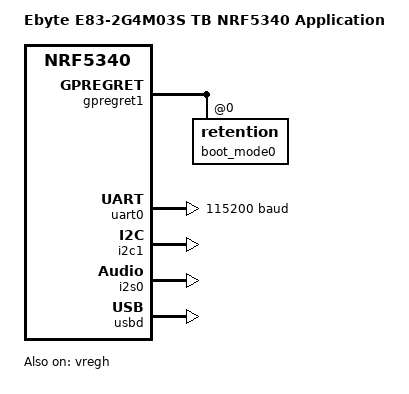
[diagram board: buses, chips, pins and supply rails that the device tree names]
/*
 * Copyright (c) 2020-2025 Nordic Semiconductor ASA
 *
 * SPDX-License-Identifier: Apache-2.0
 *
 * E83-2G4M03S Test Board (10414-PCB-V1.2) — Application core
 */

/dts-v1/;
#include <nordic/nrf5340_cpuapp_qkaa.dtsi>
#include "e83_2g4m03s_tb_common.dtsi"
#include "e83_2g4m03s_tb_nrf5340_cpuapp-pinctrl.dtsi"

/ {
	model = "Ebyte E83-2G4M03S TB NRF5340 Application";
	compatible = "ebyte,e83-2g4m03s-tb-nrf5340-cpuapp";

	chosen {
		zephyr,sram = &sram0_image;
		zephyr,flash = &flash0;
		zephyr,code-partition = &slot0_partition;
		zephyr,sram-secure-partition = &sram0_s;
		zephyr,sram-non-secure-partition = &sram0_ns;
		zephyr,console = &uart0;
		zephyr,shell-uart = &uart0;
		zephyr,uart-mcumgr = &uart0;
		zephyr,bt-mon-uart = &uart0;
		zephyr,bt-c2h-uart = &uart0;
		zephyr,bt-hci = &bt_hci_ipc0;
		zephyr,boot-mode = &boot_mode0;
	};

	aliases {
		i2s-audio = &i2s0;
	};
};

&gpregret1 {
	status = "okay";

	boot_mode0: boot_mode@0 {
		compatible = "zephyr,retention";
		status = "okay";
		reg = <0x0 0x1>;
	};
};

&vregmain {
	regulator-initial-mode = <NRF5X_REG_MODE_DCDC>;
};

&vregradio {
	regulator-initial-mode = <NRF5X_REG_MODE_DCDC>;
};

&vregh {
	status = "okay";
};

&lfxo {
	load-capacitors = "external";
};

&gpiote {
	status = "okay";
};

&gpio0 {
	status = "okay";
};

&gpio1 {
	status = "okay";
};

&uart0 {
	status = "okay";
	current-speed = <115200>;
	pinctrl-0 = <&uart0_default>;
	pinctrl-1 = <&uart0_sleep>;
	pinctrl-names = "default", "sleep";
};

&i2c1 {
	compatible = "nordic,nrf-twim";
	status = "okay";
	pinctrl-0 = <&i2c1_default>;
	pinctrl-1 = <&i2c1_sleep>;
	pinctrl-names = "default", "sleep";
};

&i2s0 {
	compatible = "nordic,nrf-i2s";
	status = "okay";
	pinctrl-0 = <&i2s0_default>;
	pinctrl-1 = <&i2s0_sleep>;
	pinctrl-names = "default", "sleep";
};

&clock {
	hfclkaudio-frequency = <12288000>;
};

zephyr_udc0: &usbd {
	compatible = "nordic,nrf-usbd";
	status = "okay";
};

/* Include default memory partition configuration file */
#include <nordic/nrf5340_cpuapp_partition.dtsi>
